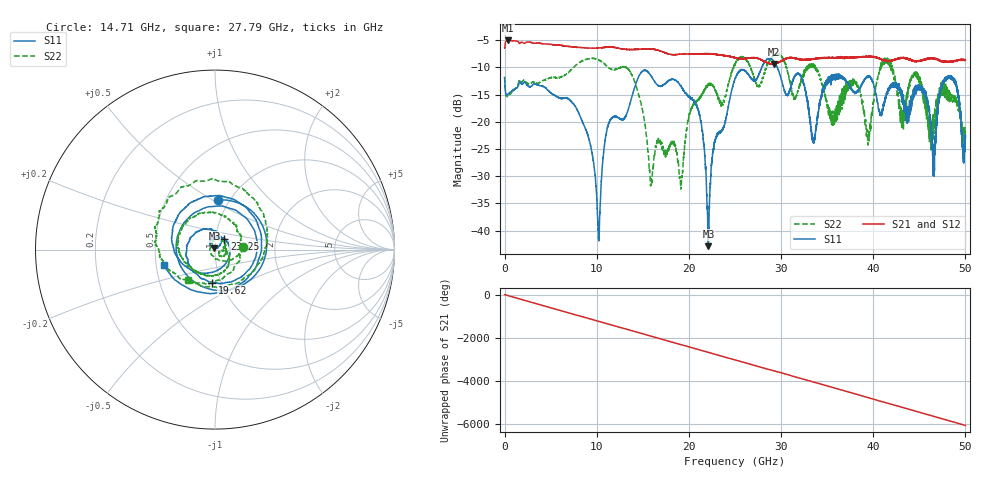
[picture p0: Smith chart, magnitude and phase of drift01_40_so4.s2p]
!Created with skrf (http://scikit-rf.org).
# Hz S RI R 50.0
!freq ReS11 ImS11 ReS21 ImS21 ReS12 ImS12 ReS22 ImS22
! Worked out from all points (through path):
!   10001 points, 300 kHz to 50 GHz, reference 50 ohm
!   highest |S21| = -5.06 dB at 330.3 MHz (marker M1); lowest = -9.4 dB at 29.23 GHz (marker M2)
!   group delay of S21, straight-line fit = 336 ps
!   lowest |S11| = -42.9 dB at 22.12 GHz (marker M3), VSWR 1.01, Z = 49.7 + j0.646 ohm
!   |S11| at or under -10 dB: start of sweep to 27.92 GHz; 29.59 GHz to end of sweep
!   |S22| runs from -32.4 to -7.5 dB; largest |S21 - S12| = 0.012
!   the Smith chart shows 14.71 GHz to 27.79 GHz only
!   S11 on the Smith chart (normalised r, x): 14.71 GHz: 0.89, +0.53; 19.62 GHz: 0.91, -0.34; 23.25 GHz: 1.10, +0.14; 27.79 GHz: 0.55, -0.11
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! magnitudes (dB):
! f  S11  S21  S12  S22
! 300 kHz  -11.9  -6.4  -6.5  -11.7
! 330.3 MHz  -15.0  -5.1  -5.1  -15.3
! 8.335 GHz  -19.5  -6.4  -6.4  -8.9
! 10.21 GHz  -41.7  -6.4  -6.4  -8.6
! 11.24 GHz  -20.6  -6.3  -6.2  -10.0
! 14.71 GHz  -11.2  -6.7  -6.7  -16.1
! 15.88 GHz  -11.5  -6.6  -6.6  -31.0
! 16.67 GHz  -13.4  -6.9  -6.9  -23.2
! 19.62 GHz  -14.7  -7.5  -7.5  -23.1
! 21.22 GHz  -19.4  -7.5  -7.5  -15.7
! 22.12 GHz  -42.9  -7.5  -7.5  -13.4
! 23.25 GHz  -21.9  -7.7  -7.7  -15.7
! 25 GHz  -12.1  -8.2  -8.2  -9.4
! 27.79 GHz  -10.5  -8.6  -8.6  -12.9
! 29.23 GHz  -9.0  -9.4  -9.4  -7.8
! 33.34 GHz  -22.5  -8.5  -8.5  -9.6
! 39.47 GHz  -11.7  -8.0  -8.0  -22.3
! 41.67 GHz  -13.9  -8.8  -8.8  -9.2
! 45.36 GHz  -13.8  -8.7  -8.6  -14.3
! 46.56 GHz  -26.2  -8.3  -8.3  -21.1
! 48.56 GHz  -12.0  -9.0  -8.9  -15.2
! 50 GHz  -22.9  -8.7  -8.7  -23.1
